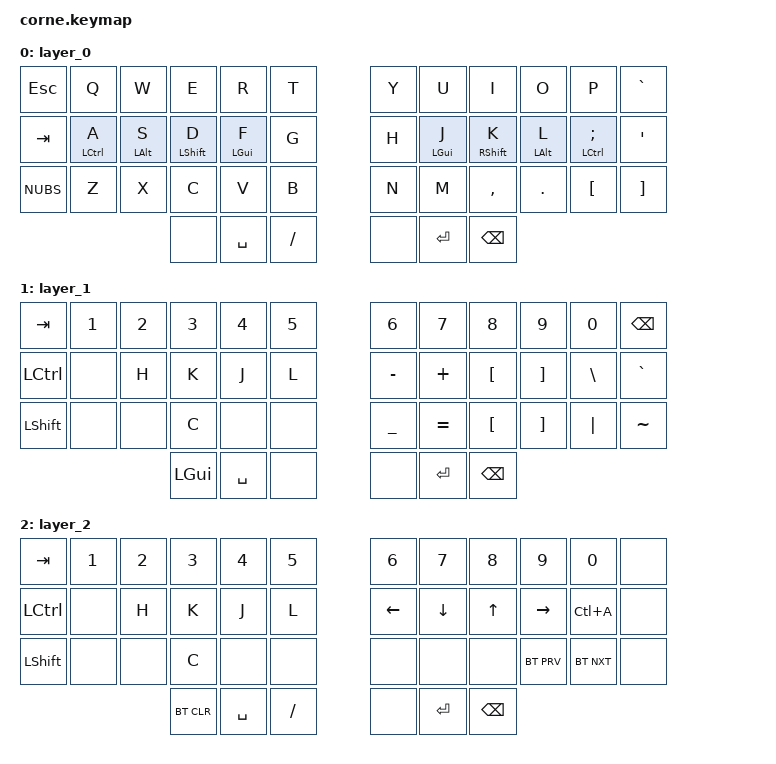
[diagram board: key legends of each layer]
/*
 * Copyright (c) 2020 The ZMK Contributors
 *
 * SPDX-License-Identifier: MIT
 */

#include <behaviors.dtsi>
#include <dt-bindings/zmk/bt.h>
#include <dt-bindings/zmk/keys.h>

// #define BASE 0
// #define SYM 1
// #define NAV 2

&mt {
    tapping-term-ms = <300>;
    require-prior-idle-ms = <125>;
    quick-tap-ms = <200>;
};

&lt { tapping-term-ms = <125>; };

/ {
    behaviors {
        hm: homerow_mods {
            compatible = "zmk,behavior-hold-tap";
            #binding-cells = <2>;
            tapping-term-ms = <150>;
            quick-tap-ms = <0>;
            flavor = "tap-preferred";
            bindings = <&kp>, <&kp>;
        };

        l_pht: left_positional_hold_tap {
            compatible = "zmk,behavior-hold-tap";
            #binding-cells = <2>;
            flavor = "tap-unless-interrupted";
            tapping-term-ms = <130>;                        // <---[[produces tap if held longer than tapping-term-ms]]
            quick-tap-ms = <200>;
            bindings = <&kp>, <&kp>;

            hold-trigger-key-positions = <5 6 7 8 9 5 6 7 8 9 15 16 17 18 19 25 26 27 28 29 34 35 36 37>;
        };

        r_pht: right_positional_hold_tap {
            compatible = "zmk,behavior-hold-tap";
            #binding-cells = <2>;
            flavor = "tap-unless-interrupted";
            tapping-term-ms = <130>;                        // <---[[produces tap if held longer than tapping-term-ms]]
            quick-tap-ms = <200>;
            bindings = <&kp>, <&kp>;

            hold-trigger-key-positions = <0 1 2 3 4 0 1 2 3 4 10 11 12 13 14 20 21 22 23 24 30 31 32 33>;
        };

        bkt: bkt {
            compatible = "zmk,behavior-tap-dance";
            label = "BKT";
            #binding-cells = <0>;
            bindings = <&kp LEFT_BRACKET>, <&kp RIGHT_BRACKET>;

            tapping-term-ms = <180>;
        };

        bSlh: bSlh {
            compatible = "zmk,behavior-tap-dance";
            label = "BSLH";
            #binding-cells = <0>;
            bindings = <&kp PIPE>, <&kp BACKSLASH>;
        };
    };

    combos {
        compatible = "zmk,combos";

        off {
            bindings = <&soft_off>;
            key-positions = <25 34>;
        };
    };

    macros {
        toggle_dvo: toggle_dvo {
            compatible = "zmk,behavior-macro";
            #binding-cells = <0>;
            bindings = <&macro_tap>, <&kp LC(SPACE) &tog 1>;

            label = "TOGGLE_DVO";
        };
    };

    keymap {
        compatible = "zmk,keymap";

        //         default_layer {
        //             bindings = <
        // &kp ESC   &kp Q        &kp W           &kp E         &kp R       &kp T        &kp Y      &kp U       &kp I          &kp O           &kp P            &kp GRAVE
        // &kp TAB   &hm LCTRL A  &hm LEFT_ALT S  &hm LSHIFT D  &hm LGUI F  &kp G        &kp H      &hm LGUI J  &hm RSHIFT K   &hm LEFT_ALT L  &hm LCTRL SEMI   &kp SQT
        // &kp NUBS  &kp Z        &kp X           &kp C         &kp V       &kp B        &kp N      &kp M       &kp COMMA      &kp DOT         &kp LEFT_BRACKET &kp RIGHT_BRACKET
        //                                        &mo SYM       &mo SPACE   &kp FSLH     &mo NAV    &mo ENTER   &kp BACKSPACE
        //             >;
        //         };
        //         SYM {
        //             bindings = <
        //             >;
        //         };
        //         NAV {
        //             bindings = <
        // &kp TAB    &kp N1  &kp N2   &kp N3   &kp N4     &kp N5           &kp N6     &kp N7        &kp N8         &kp N9        &kp N0    &none
        // &kp LCTRL  &none   &kp H    &kp K    &kp J      &kp L            &kp LEFT   &kp DOWN      &kp UP         &kp RIGHT     &kp C(A)  &none
        // &kp LSHFT  &none   &none    &kp C    &none      &none            &none      &none         &none  &none   &none  &none
        //                             &kp LGUI &kp SPACE  &none            &none      &none   &none
        //             >;
        //         };

        layer_0 {
            bindings = <
&kp ESC   &kp Q        &kp W           &kp E         &kp R       &kp T       &kp Y  &kp U       &kp I          &kp O           &kp P             &kp GRAVE
&kp TAB   &hm LCTRL A  &hm LEFT_ALT S  &hm LSHIFT D  &hm LGUI F  &kp G       &kp H  &hm LGUI J  &hm RSHIFT K   &hm LEFT_ALT L  &hm LCTRL SEMI    &kp SQT
&kp NUBS  &kp Z        &kp X           &kp C         &kp V       &kp B       &kp N  &kp M       &kp COMMA      &kp DOT         &kp LEFT_BRACKET  &kp RIGHT_BRACKET
                                       &none         &kp SPACE   &kp FSLH    &none  &kp ENTER   &kp BACKSPACE
            >;
        };

        layer_1 {
            bindings = <
&kp TAB    &kp N1  &kp N2  &kp N3    &kp N4     &kp N5    &kp N6     &kp N7     &kp N8            &kp N9             &kp N0    &kp BACKSPACE
&kp LCTRL  &none   &kp H   &kp K     &kp J      &kp L     &kp MINUS  &kp PLUS   &kp LEFT_BRACKET  &kp RIGHT_BRACKET  &kp BSLH  &kp GRAVE
&kp LSHFT  &none   &none   &kp C     &none      &none     &kp UNDER  &kp EQUAL  &kp LBKT          &kp RBKT           &kp PIPE  &kp TILDE
                           &kp LGUI  &kp SPACE  &none     &none      &kp ENTER  &kp BACKSPACE
            >;
        };

        layer_2 {
            bindings = <
&kp TAB    &kp N1  &kp N2  &kp N3      &kp N4     &kp N5      &kp N6    &kp N7     &kp N8         &kp N9      &kp N0      &none
&kp LCTRL  &none   &kp H   &kp K       &kp J      &kp L       &kp LEFT  &kp DOWN   &kp UP         &kp RIGHT   &kp LC(A)   &none
&kp LSHFT  &none   &none   &kp C       &none      &none       &none     &none      &none          &bt BT_PRV  &bt BT_NXT  &none
                           &bt BT_CLR  &kp SPACE  &kp FSLH    &none     &kp ENTER  &kp BACKSPACE
            >;
        };
    };
};
